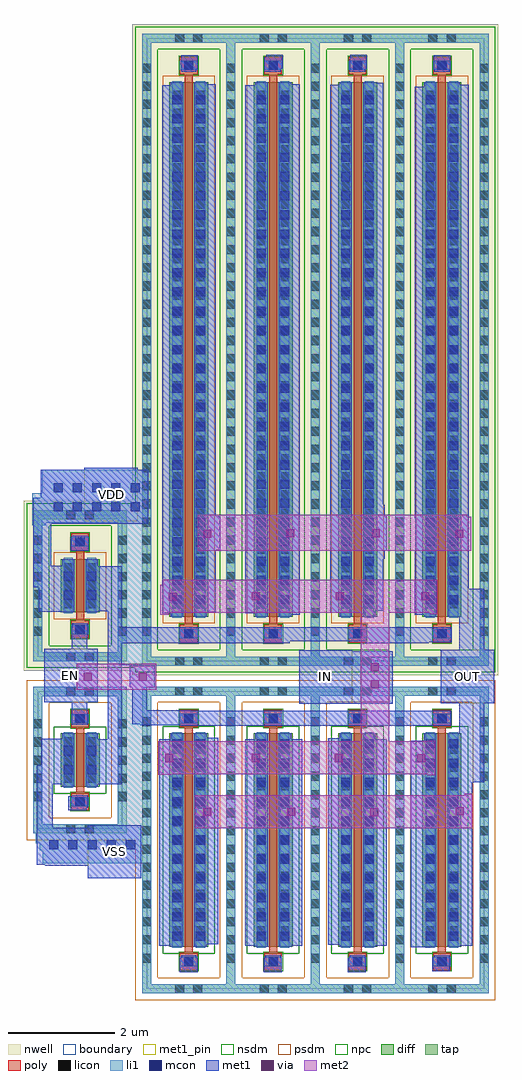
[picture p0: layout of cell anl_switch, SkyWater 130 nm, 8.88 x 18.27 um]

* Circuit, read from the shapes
.subckt anl_switch EN IN OUT VDD VSS
XM1 n1 EN VSS VSS sky130_fd_pr__nfet_01v8 w=1 l=0.15
XM2 OUT EN IN VSS sky130_fd_pr__nfet_01v8 w=4 l=0.15 m=4
XM3 n1 EN VDD VDD sky130_fd_pr__pfet_01v8 w=1 l=0.15
XM4 OUT n1 IN VDD sky130_fd_pr__pfet_01v8 w=10 l=0.15 m=4
.ends

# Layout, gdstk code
import gdstk
lib = gdstk.Library(unit=1e-6, precision=1e-09)
def R(c, l, rs):  # rectangles x0, y0, x1, y1
    for r in rs: c.add(gdstk.rectangle(r[:2], r[2:], *l))
def A(c, l, x, y, w, h, nx, ny, dx, dy):  # array of equal rectangles
    R(c, l, [(x+i*dx, y+j*dy, x+i*dx+w, y+j*dy+h) for i in range(nx) for j in range(ny)])
nwell = (64, 20)
diff = (65, 20)
tap = (65, 44)
poly = (66, 20)
licon = (66, 44)
li1 = (67, 20)
mcon = (67, 44)
met1_pin = (68, 16)
met1 = (68, 20)
via = (68, 44)
met2 = (69, 20)
nsdm = (93, 44)
psdm = (94, 20)
npc = (95, 20)
boundary = (235, 4)

sky130_fd_pr__pfet_01v8_ = lib.new_cell('sky130_fd_pr__pfet_01v8_XGS3BL')
R(sky130_fd_pr__pfet_01v8_, nwell, [(-1.055,-1.595,1.055,1.595)])
R(sky130_fd_pr__pfet_01v8_, diff, [(-0.365,-0.5,0.365,0.5)])
R(sky130_fd_pr__pfet_01v8_, tap, [(-0.875,-1.415,0.875,-1.245), (-0.875,-1.245,-0.705,1.245), (0.705,-1.245,0.875,1.245), (-0.875,1.245,0.875,1.415)])
R(sky130_fd_pr__pfet_01v8_, poly, [(-0.165,-0.985,0.165,-0.655), (-0.075,-0.655,0.075,0.655), (-0.165,0.655,0.165,0.985)])
A(sky130_fd_pr__pfet_01v8_, licon, -0.875, -0.935, 0.17, 0.17, 1, 6, 0, 0.34)
A(sky130_fd_pr__pfet_01v8_, licon, 0.705, -0.935, 0.17, 0.17, 1, 6, 0, 0.34)
A(sky130_fd_pr__pfet_01v8_, licon, -0.305, -0.425, 0.17, 0.17, 1, 3, 0, 0.34)
A(sky130_fd_pr__pfet_01v8_, licon, 0.135, -0.425, 0.17, 0.17, 1, 3, 0, 0.34)
R(sky130_fd_pr__pfet_01v8_, licon, [(-0.255,-1.415,-0.085,-1.245), (0.085,-1.415,0.255,-1.245), (-0.085,-0.905,0.085,-0.735), (-0.085,0.735,0.085,0.905), (-0.255,1.245,-0.085,1.415), (0.085,1.245,0.255,1.415)])
R(sky130_fd_pr__pfet_01v8_, li1, [(-0.875,-1.415,0.875,-1.245), (-0.875,-1.245,-0.705,1.245), (0.705,-1.245,0.875,1.245), (-0.165,-0.905,0.165,-0.735), (-0.305,-0.52,-0.135,0.52), (0.135,-0.52,0.305,0.52), (-0.165,0.735,0.165,0.905), (-0.875,1.245,0.875,1.415)])
R(sky130_fd_pr__pfet_01v8_, mcon, [(-0.085,-0.905,0.085,-0.735), (-0.305,-0.265,-0.135,-0.095), (0.135,-0.265,0.305,-0.095), (-0.305,0.095,-0.135,0.265), (0.135,0.095,0.305,0.265), (-0.085,0.735,0.085,0.905)])
R(sky130_fd_pr__pfet_01v8_, met1, [(-0.145,-0.935,0.145,-0.705), (-0.335,-0.5,-0.105,0.5), (0.105,-0.5,0.335,0.5), (-0.145,0.705,0.145,0.935)])
R(sky130_fd_pr__pfet_01v8_, nsdm, [(-1,-1.54,1,-1.12), (-1,-1.12,-0.58,1.12), (0.58,-1.12,1,1.12), (-1,1.12,1,1.54)])
R(sky130_fd_pr__pfet_01v8_, psdm, [(-0.49,-0.625,0.49,0.625)])
R(sky130_fd_pr__pfet_01v8_, npc, [(-0.185,-1.005,0.185,-0.635), (-0.185,0.635,0.185,1.005)])
R(sky130_fd_pr__pfet_01v8_, boundary, [(-0.79,-1.33,0.79,1.33)])

sky130_fd_pr__nfet_01v8_ = lib.new_cell('sky130_fd_pr__nfet_01v8_PWNS5P')
R(sky130_fd_pr__nfet_01v8_, diff, [(-0.365,-2,0.365,2)])
R(sky130_fd_pr__nfet_01v8_, tap, [(-0.875,-2.87,0.875,-2.7), (-0.875,-2.7,-0.705,2.7), (0.705,-2.7,0.875,2.7), (-0.875,2.7,0.875,2.87)])
R(sky130_fd_pr__nfet_01v8_, poly, [(-0.165,-2.44,0.165,-2.11), (-0.075,-2.11,0.075,2.11), (-0.165,2.11,0.165,2.44)])
A(sky130_fd_pr__nfet_01v8_, licon, -0.875, -2.295, 0.17, 0.17, 1, 14, 0, 0.34)
A(sky130_fd_pr__nfet_01v8_, licon, 0.705, -2.295, 0.17, 0.17, 1, 14, 0, 0.34)
A(sky130_fd_pr__nfet_01v8_, licon, -0.305, -1.785, 0.17, 0.17, 1, 11, 0, 0.34)
A(sky130_fd_pr__nfet_01v8_, licon, 0.135, -1.785, 0.17, 0.17, 1, 11, 0, 0.34)
R(sky130_fd_pr__nfet_01v8_, licon, [(-0.255,-2.87,-0.085,-2.7), (0.085,-2.87,0.255,-2.7), (-0.085,-2.36,0.085,-2.19), (-0.085,2.19,0.085,2.36), (-0.255,2.7,-0.085,2.87), (0.085,2.7,0.255,2.87)])
R(sky130_fd_pr__nfet_01v8_, li1, [(-0.875,-2.87,0.875,-2.7), (-0.875,-2.7,-0.705,2.7), (0.705,-2.7,0.875,2.7), (-0.165,-2.36,0.165,-2.19), (-0.305,-2.02,-0.135,2.02), (0.135,-2.02,0.305,2.02), (-0.165,2.19,0.165,2.36), (-0.875,2.7,0.875,2.87)])
A(sky130_fd_pr__nfet_01v8_, mcon, -0.305, -1.885, 0.17, 0.17, 1, 11, 0, 0.36)
A(sky130_fd_pr__nfet_01v8_, mcon, 0.135, -1.885, 0.17, 0.17, 1, 11, 0, 0.36)
R(sky130_fd_pr__nfet_01v8_, mcon, [(-0.085,-2.36,0.085,-2.19), (-0.085,2.19,0.085,2.36)])
R(sky130_fd_pr__nfet_01v8_, met1, [(-0.145,-2.39,0.145,-2.16), (-0.335,-2,-0.105,2), (0.105,-2,0.335,2), (-0.145,2.16,0.145,2.39)])
R(sky130_fd_pr__nfet_01v8_, nsdm, [(-0.49,-2.125,0.49,2.125)])
R(sky130_fd_pr__nfet_01v8_, psdm, [(-1,-2.995,1,-2.575), (-1,-2.575,-0.58,2.575), (0.58,-2.575,1,2.575), (-1,2.575,1,2.995)])
R(sky130_fd_pr__nfet_01v8_, npc, [(-0.185,-2.46,0.185,-2.09), (-0.185,2.09,0.185,2.46)])
R(sky130_fd_pr__nfet_01v8_, boundary, [(-0.79,-2.785,0.79,2.785)])

c_sky130_fd_pr__pfet_01v8_ = lib.new_cell('sky130_fd_pr__pfet_01v8_XGA8MR')
R(c_sky130_fd_pr__pfet_01v8_, nwell, [(-1.055,-6.095,1.055,6.095)])
R(c_sky130_fd_pr__pfet_01v8_, diff, [(-0.365,-5,0.365,5)])
R(c_sky130_fd_pr__pfet_01v8_, tap, [(-0.875,-5.915,0.875,-5.745), (-0.875,-5.745,-0.705,5.745), (0.705,-5.745,0.875,5.745), (-0.875,5.745,0.875,5.915)])
R(c_sky130_fd_pr__pfet_01v8_, poly, [(-0.165,-5.485,0.165,-5.155), (-0.075,-5.155,0.075,5.155), (-0.165,5.155,0.165,5.485)])
A(c_sky130_fd_pr__pfet_01v8_, licon, -0.875, -5.355, 0.17, 0.17, 1, 32, 0, 0.34)
A(c_sky130_fd_pr__pfet_01v8_, licon, 0.705, -5.355, 0.17, 0.17, 1, 32, 0, 0.34)
A(c_sky130_fd_pr__pfet_01v8_, licon, -0.305, -4.845, 0.17, 0.17, 1, 29, 0, 0.34)
A(c_sky130_fd_pr__pfet_01v8_, licon, 0.135, -4.845, 0.17, 0.17, 1, 29, 0, 0.34)
R(c_sky130_fd_pr__pfet_01v8_, licon, [(-0.255,-5.915,-0.085,-5.745), (0.085,-5.915,0.255,-5.745), (-0.085,-5.405,0.085,-5.235), (-0.085,5.235,0.085,5.405), (-0.255,5.745,-0.085,5.915), (0.085,5.745,0.255,5.915)])
R(c_sky130_fd_pr__pfet_01v8_, li1, [(-0.875,-5.915,0.875,-5.745), (-0.875,-5.745,-0.705,5.745), (0.705,-5.745,0.875,5.745), (-0.165,-5.405,0.165,-5.235), (-0.305,-5.02,-0.135,5.02), (0.135,-5.02,0.305,5.02), (-0.165,5.235,0.165,5.405), (-0.875,5.745,0.875,5.915)])
A(c_sky130_fd_pr__pfet_01v8_, mcon, -0.305, -4.765, 0.17, 0.17, 1, 27, 0, 0.36)
A(c_sky130_fd_pr__pfet_01v8_, mcon, 0.135, -4.765, 0.17, 0.17, 1, 27, 0, 0.36)
R(c_sky130_fd_pr__pfet_01v8_, mcon, [(-0.085,-5.405,0.085,-5.235), (-0.085,5.235,0.085,5.405)])
R(c_sky130_fd_pr__pfet_01v8_, met1, [(-0.145,-5.435,0.145,-5.205), (-0.335,-5,-0.105,5), (0.105,-5,0.335,5), (-0.145,5.205,0.145,5.435)])
R(c_sky130_fd_pr__pfet_01v8_, nsdm, [(-1,-6.04,1,-5.62), (-1,-5.62,-0.58,5.62), (0.58,-5.62,1,5.62), (-1,5.62,1,6.04)])
R(c_sky130_fd_pr__pfet_01v8_, psdm, [(-0.49,-5.125,0.49,5.125)])
R(c_sky130_fd_pr__pfet_01v8_, npc, [(-0.185,-5.505,0.185,-5.135), (-0.185,5.135,0.185,5.505)])
R(c_sky130_fd_pr__pfet_01v8_, boundary, [(-0.79,-5.83,0.79,5.83)])

c_sky130_fd_pr__nfet_01v8_ = lib.new_cell('sky130_fd_pr__nfet_01v8_648S5X')
R(c_sky130_fd_pr__nfet_01v8_, diff, [(-0.365,-0.5,0.365,0.5)])
R(c_sky130_fd_pr__nfet_01v8_, tap, [(-0.875,-1.37,0.875,-1.2), (-0.875,-1.2,-0.705,1.2), (0.705,-1.2,0.875,1.2), (-0.875,1.2,0.875,1.37)])
R(c_sky130_fd_pr__nfet_01v8_, poly, [(-0.165,-0.94,0.165,-0.61), (-0.075,-0.61,0.075,0.61), (-0.165,0.61,0.165,0.94)])
A(c_sky130_fd_pr__nfet_01v8_, licon, -0.875, -0.765, 0.17, 0.17, 1, 5, 0, 0.34)
A(c_sky130_fd_pr__nfet_01v8_, licon, 0.705, -0.765, 0.17, 0.17, 1, 5, 0, 0.34)
A(c_sky130_fd_pr__nfet_01v8_, licon, -0.305, -0.425, 0.17, 0.17, 1, 3, 0, 0.34)
A(c_sky130_fd_pr__nfet_01v8_, licon, 0.135, -0.425, 0.17, 0.17, 1, 3, 0, 0.34)
R(c_sky130_fd_pr__nfet_01v8_, licon, [(-0.255,-1.37,-0.085,-1.2), (0.085,-1.37,0.255,-1.2), (-0.085,-0.86,0.085,-0.69), (-0.085,0.69,0.085,0.86), (-0.255,1.2,-0.085,1.37), (0.085,1.2,0.255,1.37)])
R(c_sky130_fd_pr__nfet_01v8_, li1, [(-0.875,-1.37,0.875,-1.2), (-0.875,-1.2,-0.705,1.2), (0.705,-1.2,0.875,1.2), (-0.165,-0.86,0.165,-0.69), (-0.305,-0.52,-0.135,0.52), (0.135,-0.52,0.305,0.52), (-0.165,0.69,0.165,0.86), (-0.875,1.2,0.875,1.37)])
R(c_sky130_fd_pr__nfet_01v8_, mcon, [(-0.085,-0.86,0.085,-0.69), (-0.305,-0.265,-0.135,-0.095), (0.135,-0.265,0.305,-0.095), (-0.305,0.095,-0.135,0.265), (0.135,0.095,0.305,0.265), (-0.085,0.69,0.085,0.86)])
R(c_sky130_fd_pr__nfet_01v8_, met1, [(-0.145,-0.89,0.145,-0.66), (-0.335,-0.5,-0.105,0.5), (0.105,-0.5,0.335,0.5), (-0.145,0.66,0.145,0.89)])
R(c_sky130_fd_pr__nfet_01v8_, nsdm, [(-0.49,-0.625,0.49,0.625)])
R(c_sky130_fd_pr__nfet_01v8_, psdm, [(-1,-1.495,1,-1.075), (-1,-1.075,-0.58,1.075), (0.58,-1.075,1,1.075), (-1,1.075,1,1.495)])
R(c_sky130_fd_pr__nfet_01v8_, npc, [(-0.185,-0.96,0.185,-0.59), (-0.185,0.59,0.185,0.96)])
R(c_sky130_fd_pr__nfet_01v8_, boundary, [(-0.79,-1.285,0.79,1.285)])

anl_switch = lib.new_cell('anl_switch')
R(anl_switch, li1, [(9.14,-13.395,11.12,-13.155), (9.08,-13.155,11.12,-13.02), (9.005,-13.02,11.12,-12.84), (9.005,-12.84,11.095,-12.83), (9.005,-12.83,9.555,-12.7), (10.59,-12.83,11.095,-10.135), (9.005,-12.7,9.235,-12.68), (10.57,-9.69,11.075,-7.02), (8.94,-7.07,9.19,-7.02), (8.94,-7.02,11.12,-6.465), (9.13,-6.465,11.12,-6.025)])
A(anl_switch, mcon, 9.255, -13.13, 0.17, 0.17, 5, 1, 0.36, 0)
A(anl_switch, mcon, 9.34, -6.81, 0.17, 0.17, 5, 2, 0.36, 0.36)
R(anl_switch, met1_pin, [(9.98,-13.68,10.98,-12.68), (13.935,-10.405,14.935,-9.405), (16.585,-10.4,17.585,-9.4), (9.165,-10.38,10.165,-9.38), (9.915,-6.995,10.915,-5.995)])
A(anl_switch, met1, 11.7, -15.435, 0.335, 0.265, 3, 1, 1.575, 0)
R(anl_switch, met1, [(16.425,-15.42,16.76,-15.155), (16.025,-14.97,16.395,-11.1), (11.32,-14.94,11.69,-11.07), (12.93,-14.94,13.3,-11.07), (13.62,-14.94,13.99,-11.07), (15.205,-14.94,15.575,-12.72), (16.805,-14.94,17.175,-12.7), (14.48,-14.925,14.85,-11.055), (12.055,-14.915,12.425,-12.715), (9.98,-13.68,10.98,-13.445), (9.18,-13.445,10.98,-13.425), (9.025,-13.425,10.98,-12.735), (9.025,-12.735,9.325,-11.915), (9.98,-12.735,10.98,-12.68), (15.18,-12.72,15.575,-12.16), (12.05,-12.715,12.425,-12.155), (16.775,-12.7,17.175,-12.14), (9.615,-12.405,9.95,-12.14), (15.205,-12.16,15.575,-11.07), (12.055,-12.155,12.425,-11.045), (16.805,-12.14,17.175,-11.875), (9.025,-11.915,9.655,-11.565), (9.975,-11.915,10.62,-11.075), (16.805,-11.875,17.405,-11.07), (9.11,-11.565,9.655,-11.06), (10.355,-11.075,10.62,-9.275), (16.935,-11.07,17.405,-10.4), (11.73,-10.82,16.78,-10.815), (10.96,-10.815,16.78,-10.795), (9.68,-10.805,9.97,-10.38), (10.81,-10.795,16.78,-10.545), (10.81,-10.545,11.9,-10.535), (10.81,-10.535,11.085,-10.105), (13.935,-10.405,15.685,-9.425), (16.585,-10.4,17.585,-9.4), (9.165,-10.38,10.165,-9.38), (10.77,-10.105,11.23,-9.7), (13.935,-9.425,14.935,-9.405), (16.935,-9.4,17.405,-8.705), (9.68,-9.38,9.97,-8.995), (10.355,-9.275,13.76,-9.24), (15.175,-9.275,16.365,-9.26), (15.175,-9.26,16.795,-9.24), (10.355,-9.24,16.795,-8.98), (10.355,-8.98,10.62,-8.68), (13.595,-8.74,13.945,1.19), (16.105,-8.74,16.45,-8.68), (11.375,-8.715,11.72,-8.69), (12.93,-8.715,13.275,-8.68), (14.515,-8.705,14.86,-8.675), (16.77,-8.705,17.405,-8.255), (12.03,-8.7,12.375,-7.805), (11.375,-8.69,11.74,-8.13), (9.065,-8.685,9.685,-8.23), (9.975,-8.68,10.62,-7.84), (12.93,-8.68,13.295,-8.12), (16.105,-8.68,16.465,-8.12), (14.515,-8.675,14.87,-8.115), (15.17,-8.67,15.515,-7.695), (16.77,-8.255,17.115,-7.69), (8.96,-8.23,9.685,-7.825), (11.375,-8.13,11.72,1.17), (12.93,-8.12,13.275,-7.79), (16.105,-8.12,16.45,-7.68), (14.515,-8.115,14.86,-7.69), (8.96,-7.825,9.295,-7.04), (12.03,-7.805,12.38,-7.54), (12.93,-7.79,13.28,-6.775), (15.17,-7.695,15.535,-7.555), (14.515,-7.69,14.87,-7.555), (16.765,-7.69,17.115,-6.675), (16.105,-7.68,16.46,-7.555), (14.52,-7.555,14.87,-6.94), (15.185,-7.555,15.535,-7.545), (16.11,-7.555,16.46,-6.94), (9.665,-7.55,10,-7.285), (15.185,-7.545,15.575,-6.94), (12.03,-7.54,12.46,-6.895), (8.96,-7.04,11.11,-6.555), (14.515,-6.94,14.87,-6.675), (15.17,-6.94,15.575,-6.9), (16.105,-6.94,16.46,-6.665), (15.17,-6.9,15.535,-6.68), (12.03,-6.895,12.38,-6.79), (12.03,-6.79,12.375,1.185), (12.93,-6.775,13.275,1.17), (15.17,-6.68,15.515,1.215), (14.515,-6.675,14.86,1.18), (16.77,-6.675,17.115,1.18), (16.105,-6.665,16.45,1.145), (9.1,-6.555,11.11,-6.025), (9.915,-6.025,10.915,-5.995), (13.285,1.435,13.59,1.48), (11.73,1.47,12.035,1.73), (16.46,1.47,16.765,1.73), (13.285,1.48,13.625,1.695), (14.895,1.48,15.2,1.74), (13.32,1.695,13.625,1.74)])
R(anl_switch, via, [(15.27,-12.515,15.42,-12.365), (12.14,-12.51,12.29,-12.36), (13.715,-12.505,13.865,-12.355), (16.865,-12.495,17.015,-12.345), (16.15,-11.505,16.3,-11.355), (11.43,-11.5,11.58,-11.35), (13.05,-11.5,13.2,-11.35), (14.605,-11.5,14.755,-11.35), (15.275,-10.12,15.425,-9.97), (9.9,-9.98,10.05,-9.83), (10.935,-9.975,11.085,-9.825), (15.275,-9.8,15.425,-9.65), (11.495,-8.485,11.645,-8.335), (13.05,-8.475,13.2,-8.325), (16.22,-8.475,16.37,-8.325), (14.625,-8.47,14.775,-8.32), (16.855,-7.305,17.005,-7.155), (12.14,-7.3,12.29,-7.15), (15.295,-7.295,15.445,-7.145), (13.695,-7.29,13.845,-7.14)])
R(anl_switch, met2, [(11.985,-12.74,17.175,-12.125), (17.035,-12.125,17.175,-12.095), (16.345,-11.75,16.485,-11.73), (11.3,-11.74,11.55,-11.73), (11.3,-11.73,16.485,-11.115), (15.09,-11.115,15.62,-8.705), (16.345,-11.115,16.485,-11.105), (9.775,-10.15,11.26,-9.66), (11.335,-8.74,11.495,-8.705), (16.38,-8.73,16.52,-8.705), (11.335,-8.705,16.52,-8.185), (11.385,-8.185,16.52,-8.09), (16.38,-8.09,16.52,-8.085), (17.02,-7.55,17.16,-7.545), (12.035,-7.545,17.16,-6.905), (12.035,-6.905,17.07,-6.87)])
R(anl_switch, nsdm, [(10.835,-9.74,10.87,-6.66)])
R(anl_switch, psdm, [(10.835,-12.96,10.87,-9.97)])
anl_switch.add(gdstk.Reference(sky130_fd_pr__pfet_01v8_, (9.835,-8.2)))
anl_switch.add(gdstk.Reference(sky130_fd_pr__nfet_01v8_, (11.87,-12.96)))
anl_switch.add(gdstk.Reference(c_sky130_fd_pr__pfet_01v8_, (11.87,-3.78)))
anl_switch.add(gdstk.Reference(c_sky130_fd_pr__nfet_01v8_, (9.835,-11.465)))
anl_switch.add(gdstk.Reference(sky130_fd_pr__nfet_01v8_, (13.45,-12.96)))
anl_switch.add(gdstk.Reference(c_sky130_fd_pr__pfet_01v8_, (13.45,-3.78)))
anl_switch.add(gdstk.Reference(sky130_fd_pr__nfet_01v8_, (15.03,-12.96)))
anl_switch.add(gdstk.Reference(c_sky130_fd_pr__pfet_01v8_, (15.03,-3.78)))
anl_switch.add(gdstk.Reference(sky130_fd_pr__nfet_01v8_, (16.61,-12.96)))
anl_switch.add(gdstk.Reference(c_sky130_fd_pr__pfet_01v8_, (16.61,-3.78)))
anl_switch.add(gdstk.Label('VDD', (10.415,-6.495), layer=68, texttype=5))
anl_switch.add(gdstk.Label('EN', (9.665,-9.88), layer=68, texttype=5))
anl_switch.add(gdstk.Label('IN', (14.435,-9.905), layer=68, texttype=5))
anl_switch.add(gdstk.Label('OUT', (17.085,-9.9), layer=68, texttype=5))
anl_switch.add(gdstk.Label('VSS', (10.48,-13.18), layer=68, texttype=5))

lib.write_gds('anl_switch.gds')
